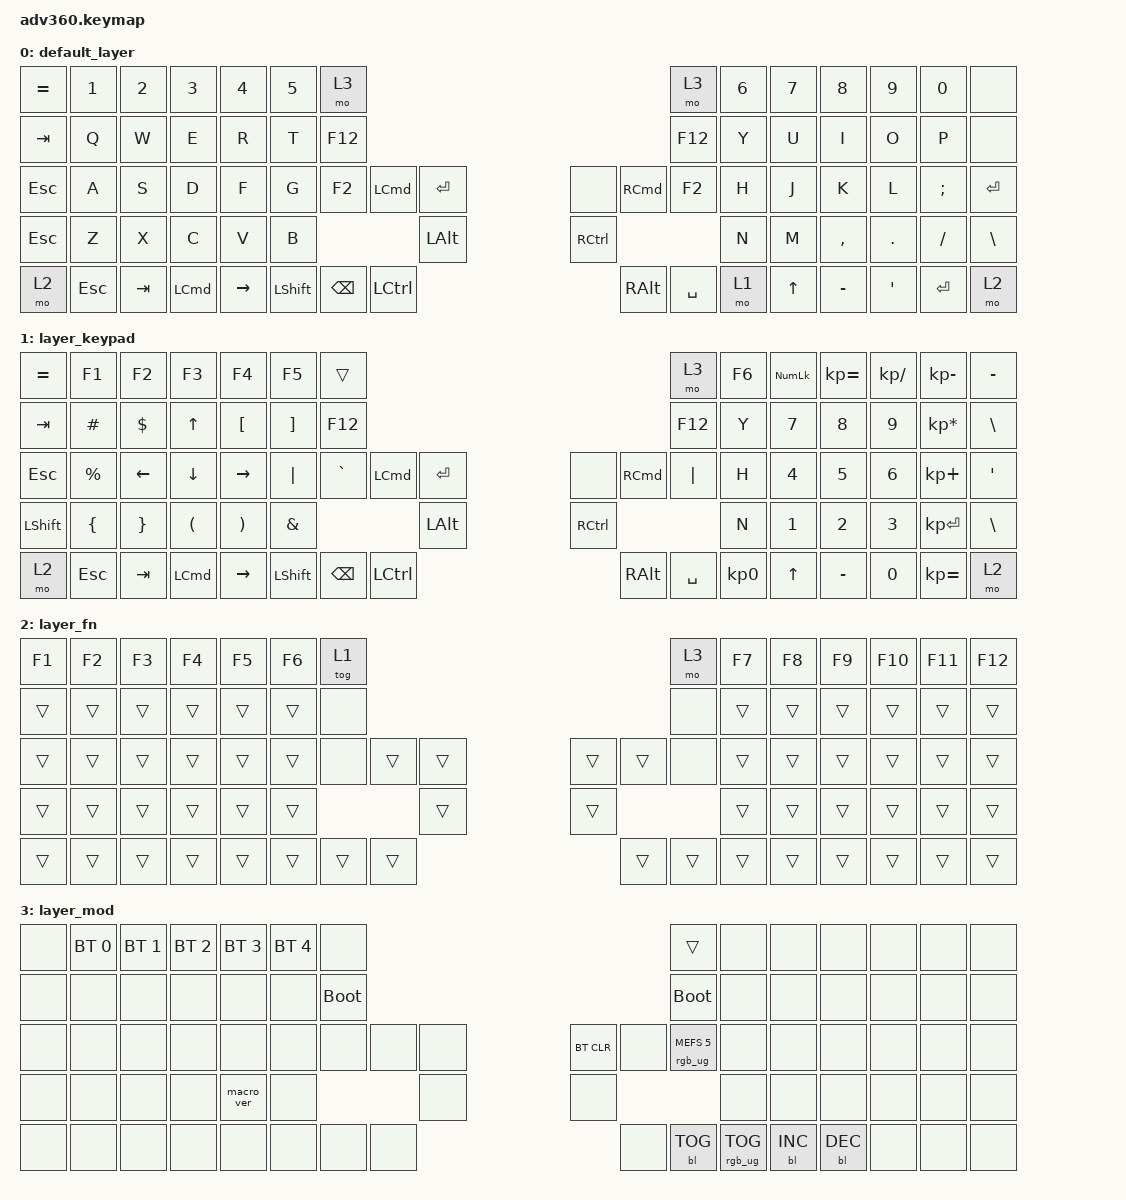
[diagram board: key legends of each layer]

/*
 * Copyright (c) 2020 The ZMK Contributors
 *
 * SPDX-License-Identifier: MIT
 */


/* THIS FILE WAS GENERATED!
 *
 * This file was generated automatically. You may or may not want to
 * edit it directly.
 */

#include <behaviors.dtsi>
#include <dt-bindings/zmk/keys.h>
#include <dt-bindings/zmk/bt.h>
#include <dt-bindings/zmk/rgb.h>
#include <dt-bindings/zmk/backlight.h>

/ {
  behaviors {
    #include "macros.dtsi"
    #include "version.dtsi"

    hm: homerow_mods {
        compatible = "zmk,behavior-hold-tap";
        label = "HOMEROW_MODS";
        #binding-cells = <2>;
        tapping-term-ms = <200>;
        quick_tap_ms = <175>;
        flavor = "tap-preferred";
        bindings = <&kp>, <&kp>;
    };
  };

    keymap {
        compatible = "zmk,keymap";


        default_layer {
            bindings = <
 &kp EQUAL   &kp N1   &kp N2            &kp N3     &kp N4  &kp N5                     &mo 3                                                                                      &mo 3  &kp N6  &kp N7     &kp N8            &kp N9     &kp N0          &none
   &kp TAB    &kp Q    &kp W             &kp E      &kp R   &kp T                   &kp F12                                                                                    &kp F12   &kp Y   &kp U      &kp I             &kp O      &kp P          &none
   &kp ESC    &kp A    &kp S             &kp D      &kp F   &kp G                    &kp F2  &kp LEFT_COMMAND     &kp ENTER                          &none  &kp RIGHT_COMMAND   &kp F2   &kp H   &kp J      &kp K             &kp L   &kp SEMI      &kp ENTER
   &kp ESC    &kp Z    &kp X             &kp C      &kp V   &kp B                                              &kp LEFT_ALT                      &kp RCTRL                               &kp N   &kp M  &kp COMMA           &kp DOT   &kp FSLH  &kp BACKSLASH
     &mo 2  &kp ESC  &kp TAB  &kp LEFT_COMMAND  &kp RIGHT                    &kp LEFT_SHIFT     &kp BACKSPACE     &kp LCTRL                  &kp RIGHT_ALT          &kp SPACE    &mo 1          &kp UP  &kp MINUS  &kp SINGLE_QUOTE  &kp ENTER          &mo 2
            >;
        };

        layer_keypad {
            bindings = <
 &kp EQUAL          &kp F1           &kp F2                &kp F3                 &kp F4             &kp F5                    &trans                                                                                             &mo 3  &kp F6  &kp KP_NUM  &kp KP_EQUAL  &kp KP_DIVIDE     &kp KP_MINUS      &kp MINUS
   &kp TAB        &kp HASH       &kp DOLLAR          &kp UP_ARROW       &kp LEFT_BRACKET  &kp RIGHT_BRACKET                   &kp F12                                                                                           &kp F12   &kp Y      &kp N7        &kp N8         &kp N9  &kp KP_MULTIPLY       &kp BSLH
   &kp ESC     &kp PERCENT   &kp LEFT_ARROW        &kp DOWN_ARROW        &kp RIGHT_ARROW           &kp PIPE                 &kp GRAVE       &kp LCMD         &kp ENTER                              &none  &kp RIGHT_COMMAND   &kp PIPE   &kp H      &kp N4        &kp N5         &kp N6      &kp KP_PLUS        &kp SQT
 &kp LSHFT  &kp LEFT_BRACE  &kp RIGHT_BRACE  &kp LEFT_PARENTHESIS  &kp RIGHT_PARENTHESIS      &kp AMPERSAND                                               &kp LEFT_ALT                  &kp RIGHT_CONTROL                                 &kp N      &kp N1        &kp N2         &kp N3     &kp KP_ENTER  &kp BACKSLASH
     &mo 2         &kp ESC          &kp TAB              &kp LCMD              &kp RIGHT                               &kp LEFT_SHIFT  &kp BACKSPACE  &kp LEFT_CONTROL                      &kp RIGHT_ALT          &kp SPACE  &kp KP_N0              &kp UP     &kp MINUS         &kp N0     &kp KP_EQUAL          &mo 2
            >;
        };

        layer_fn {
            bindings = <
 &kp F1  &kp F2  &kp F3  &kp F4  &kp F5  &kp F6            &tog 1                                                   &mo 3  &kp F7  &kp F8  &kp F9  &kp F10  &kp F11  &kp F12
 &trans  &trans  &trans  &trans  &trans  &trans             &none                                                   &none  &trans  &trans  &trans   &trans   &trans   &trans
 &trans  &trans  &trans  &trans  &trans  &trans             &none  &trans  &trans                  &trans  &trans   &none  &trans  &trans  &trans   &trans   &trans   &trans
 &trans  &trans  &trans  &trans  &trans  &trans                            &trans                  &trans                  &trans  &trans  &trans   &trans   &trans   &trans
 &trans  &trans  &trans  &trans  &trans                    &trans  &trans  &trans                  &trans  &trans  &trans          &trans  &trans   &trans   &trans   &trans
            >;
        };

        layer_mod {
            bindings = <
  &none  &bt BT_SEL 0  &bt BT_SEL 1  &bt BT_SEL 2  &bt BT_SEL 3  &bt BT_SEL 4                  &none                                                                          &trans   &none       &none       &none   &none   &none   &none
  &none         &none         &none         &none         &none         &none            &bootloader                                                                     &bootloader   &none       &none       &none   &none   &none   &none
  &none         &none         &none         &none         &none         &none                  &none   &none   &none                  &bt BT_CLR       &none  &rgb_ug RGB_MEFS_CMD 5   &none       &none       &none   &none   &none   &none
  &none         &none         &none         &none    &macro_ver         &none                                  &none                       &none                                       &none       &none       &none   &none   &none   &none
  &none         &none         &none         &none         &none                                &none   &none   &none                       &none  &bl BL_TOG         &rgb_ug RGB_TOG          &bl BL_INC  &bl BL_DEC   &none   &none   &none
            >;
        };

    };
};
